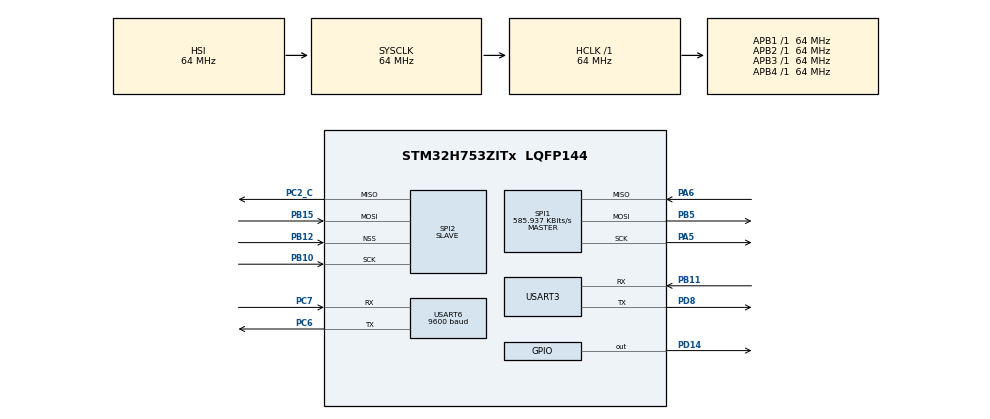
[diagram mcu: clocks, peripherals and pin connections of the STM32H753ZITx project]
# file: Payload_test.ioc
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CORTEX_M7.CPU_DCache=Disabled
CORTEX_M7.CPU_ICache=Disabled
CORTEX_M7.MPU_Control=__NULL
Mcu.Family=STM32H7
Mcu.Name=STM32H753ZITx
Mcu.Package=LQFP144
NVIC.PriorityGroup=NVIC_PRIORITYGROUP_4
NVIC.SPI1_IRQn=true\:0\:0\:false\:false\:true\:true\:true\:true
NVIC.USART6_IRQn=true\:0\:0\:false\:false\:true\:true\:true\:true
PA5.Mode=Full_Duplex_Master
PA5.Signal=SPI1_SCK
PA6.Mode=Full_Duplex_Master
PA6.Signal=SPI1_MISO
PB10.Mode=Full_Duplex_Slave
PB10.Signal=SPI2_SCK
PB11.Mode=Asynchronous
PB11.Signal=USART3_RX
PB12.Mode=NSS_Signal_Hard_Input
PB12.Signal=SPI2_NSS
PB15.Mode=Full_Duplex_Slave
PB15.Signal=SPI2_MOSI
PB5.Mode=Full_Duplex_Master
PB5.Signal=SPI1_MOSI
PB6.Signal=USART1_TX
PB7.Signal=USART1_RX
PC2_C.Mode=Full_Duplex_Slave
PC2_C.Signal=SPI2_MISO
PC6.Mode=Asynchronous
PC6.Signal=USART6_TX
PC7.Mode=Asynchronous
PC7.Signal=USART6_RX
PD14.Signal=GPIO_Output
PD8.Mode=Asynchronous
PD8.Signal=USART3_TX
ProjectManager.HeapSize=0x200
ProjectManager.StackSize=0x400
ProjectManager.TargetToolchain=STM32CubeIDE
RCC.ADCFreq_Value=129000000
RCC.APB1Freq_Value=64000000
RCC.APB2Freq_Value=64000000
RCC.APB3Freq_Value=64000000
RCC.APB4Freq_Value=64000000
RCC.CortexFreq_Value=64000000
RCC.DIVM1=4
RCC.DIVN1=9
RCC.DIVQ1=1
RCC.HCLKFreq_Value=64000000
RCC.HSE_VALUE=8000000
RCC.PLLFRACN=3072
RCC.PWR_Regulator_Voltage_Scale=PWR_REGULATOR_VOLTAGE_SCALE2
RCC.SYSCLKFreq_VALUE=64000000
RCC.USBFreq_Value=150000000
SPI1.BaudRatePrescaler=SPI_BAUDRATEPRESCALER_256
SPI1.CalculateBaudRate=585.937 KBits/s
SPI1.DataSize=SPI_DATASIZE_8BIT
SPI1.Direction=SPI_DIRECTION_2LINES
SPI1.Mode=SPI_MODE_MASTER
SPI1.NSSPMode=SPI_NSS_PULSE_DISABLE
SPI1.VirtualType=VM_MASTER
SPI2.DataSize=SPI_DATASIZE_8BIT
SPI2.Direction=SPI_DIRECTION_2LINES
SPI2.Mode=SPI_MODE_SLAVE
SPI2.VirtualNSS=VM_NSSHARD
SPI2.VirtualType=VM_SLAVE
USART3.VirtualMode-Asynchronous=VM_ASYNC
USART6.BaudRate=9600
USART6.VirtualMode-Asynchronous=VM_ASYNC
VP_FATFS_VS_Generic.Mode=User_defined
board=NUCLEO-H753ZI

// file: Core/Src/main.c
/* USER CODE BEGIN Header */
/**
  ******************************************************************************
  * @file           : main.c
  * @brief          : Main program body
  ******************************************************************************
  * @attention
  *
  * Copyright (c) 2026 STMicroelectronics.
  * All rights reserved.
  *
  * This software is licensed under terms that can be found in the LICENSE file
  * in the root directory of this software component.
  * If no LICENSE file comes with this software, it is provided AS-IS.
  *
  ******************************************************************************
  */
/* USER CODE END Header */
#include "main.h"
#include "fatfs.h"

/* USER CODE BEGIN Includes */
#include "sd_spi.h"
#include <string.h>
#include <stdio.h>
#include "ff.h"

/* USER CODE END Includes */

/* USER CODE BEGIN PTD */
typedef enum
{
    UART_STATE_WAIT_UTC,
    UART_STATE_WAIT_PROCESS_ACK,
    UART_WAIT_SEND_IMG,
    UART_STATE_DONE
} UART_State_t;

/* USER CODE END PTD */

/* USER CODE BEGIN PD */
#define CAPTURE_SIZE            9
#define UTC_DATA_SIZE           21
#define ACK_DATA_SIZE           13
#define UTC_RESPONSE_DELAY      200

#define PACKET_SIZE             210

/*
 * RPi sends packet count as:
 *
 * COUNT00125
 *
 * This is exactly 10 bytes.
 */
#define PACKET_COUNT_DATA_SIZE  10

/*
 * Maximum number of packets accepted.
 *
 * 99999 packets is the maximum representable
 * by COUNTxxxxx.
 */
#define MAX_PACKET_COUNT        99999
/* USER CODE END PD */

SPI_HandleTypeDef hspi1;
SPI_HandleTypeDef hspi2;

UART_HandleTypeDef huart3;
UART_HandleTypeDef huart6;

/* USER CODE BEGIN PV */
/*
 * SPI / SD variables
 */
uint8_t spi_tx;
uint8_t spi_rx;
uint8_t sd_buffer[512];

/*
 * FATFS variables
 */
FATFS image_fs;
FIL image_file;

FRESULT sd_result;
UINT bytes_written;
UINT bytes_read;

/*
 * SD test string
 */
char sd_test_data[] = "STM32 SD TEST\r\n";

/*
 * SPI packet receive buffer.
 *
 * Complete packet:
 *
 * [0..1]     SYNC
 * [2..5]     PACKET ID
 * [6..7]     PAYLOAD LENGTH
 * [8..9]     CRC
 * [10..209]  PAYLOAD
 */
uint8_t spi2_rx_buffer[PACKET_SIZE];

/*
 * Command sent from STM32 to Raspberry Pi.
 */
uint8_t capture_cmd[] = "CAPTURE\r\n";

/*
 * UTC folder name received from Raspberry Pi.
 */
uint8_t utc_data[UTC_DATA_SIZE];

/*
 * Process ACK received from Raspberry Pi.
 */
uint8_t ack_data[ACK_DATA_SIZE];

/*
 * Packet count received from Raspberry Pi.
 *
 * Expected format:
 *
 * COUNT00125
 *
 * exactly 10 bytes.
 */
uint8_t packet_count_data[PACKET_COUNT_DATA_SIZE];

/*
 * Total number of packets in current image.
 */
volatile uint32_t total_packets = 0;

/*
 * Indicates that packet count was received
 * and successfully decoded.
 */
volatile uint8_t packet_count_received = 0;

/*
 * Current UART state.
 */
volatile UART_State_t uart_state = UART_STATE_WAIT_UTC;

/*
 * Flag indicating UTC data has been received.
 */
volatile uint8_t utc_received = 0;

/*
 * Flag indicating final processing ACK
 * has been received.
 */
volatile uint8_t ack_received = 0;

/*
 * Time at which UTC reception completed.
 */
volatile uint32_t utc_received_time = 0;

/* USER CODE END PV */

void SystemClock_Config(void);
static void MX_GPIO_Init(void);
static void MX_SPI1_Init(void);
static void MX_USART6_UART_Init(void);
static void MX_SPI2_Init(void);
static void MX_USART3_UART_Init(void);
/* USER CODE BEGIN PFP */

/* =========================================================
 * CRC-16-CCITT
 * ========================================================= */

uint16_t crc16_ccitt(const uint8_t *data, uint32_t length);

/* =========================================================
 * UART RECEIVE CALLBACK
 * ========================================================= */

void HAL_UART_RxCpltCallback(UART_HandleTypeDef *huart)
{
    if (huart->Instance != USART6)
    {
        return;
    }

    /* =====================================================
     * STATE 1:
     * WAITING FOR UTC
     * ===================================================== */

    if (uart_state == UART_STATE_WAIT_UTC)
    {
        /*
         * UTC reception completed.
         */

        utc_received = 1;

        /*
         * Echo UTC back to Raspberry Pi.
         */
        HAL_UART_Transmit(
            &huart6,
            utc_data,
            UTC_DATA_SIZE,
            HAL_MAX_DELAY
        );

        /*
         * Next we expect process ACK.
         */
        uart_state = UART_STATE_WAIT_PROCESS_ACK;

        /*
         * Receive process ACK.
         */
        HAL_UART_Receive_IT(
            &huart6,
            ack_data,
            ACK_DATA_SIZE
        );

        /*
         * Store reception time.
         */
        utc_received_time = HAL_GetTick();
    }

    /* =====================================================
     * STATE 2:
     * WAITING FOR PROCESS ACK
     * ===================================================== */

    else if (uart_state == UART_STATE_WAIT_PROCESS_ACK)
    {
        /*
         * Process ACK received.
         */

        ack_received = 1;

        /*
         * Next we expect packet count.
         */
        uart_state = UART_WAIT_SEND_IMG;

        /*
         * Raspberry Pi will send:
         *
         * COUNT00125
         *
         * exactly 10 bytes.
         */
        HAL_UART_Receive_IT(
            &huart6,
            packet_count_data,
            PACKET_COUNT_DATA_SIZE
        );
    }

    /* =====================================================
     * STATE 3:
     * WAITING FOR PACKET COUNT
     * ===================================================== */

    else if (uart_state == UART_WAIT_SEND_IMG)
    {
        /*
         * Expected format:
         *
         * C O U N T 0 0 1 2 5
         *
         * Example:
         *
         * COUNT00125
         */

        total_packets = 0;

        /*
         * Verify "COUNT".
         */
        if (packet_count_data[0] != 'C' ||
            packet_count_data[1] != 'O' ||
            packet_count_data[2] != 'U' ||
            packet_count_data[3] != 'N' ||
            packet_count_data[4] != 'T')
        {
            /*
             * Invalid packet-count header.
             */

            total_packets = 0;
            packet_count_received = 0;

            HAL_UART_Receive_IT(
                &huart6,
                packet_count_data,
                PACKET_COUNT_DATA_SIZE
            );

            return;
        }

        /*
         * Decode five decimal digits.
         *
         * COUNT00001 = 1
         * COUNT00125 = 125
         * COUNT10000 = 10000
         */
        for (uint8_t i = 5; i < 10; i++)
        {
            /*
             * Make sure character is a digit.
             */
            if (packet_count_data[i] < '0' ||
                packet_count_data[i] > '9')
            {
                total_packets = 0;
                packet_count_received = 0;

                HAL_UART_Receive_IT(
                    &huart6,
                    packet_count_data,
                    PACKET_COUNT_DATA_SIZE
                );

                return;
            }

            total_packets =
                (total_packets * 10) +
                (packet_count_data[i] - '0');
        }

        /*
         * Validate packet count.
         */
        if (total_packets == 0 ||
            total_packets > MAX_PACKET_COUNT)
        {
            total_packets = 0;
            packet_count_received = 0;

            HAL_UART_Receive_IT(
                &huart6,
                packet_count_data,
                PACKET_COUNT_DATA_SIZE
            );

            return;
        }

        /*
         * Packet count is valid.
         */
        packet_count_received = 1;
    }
}

/* =========================================================
 * UART ERROR CALLBACK
 * ========================================================= */

void HAL_UART_ErrorCallback(UART_HandleTypeDef *huart)
{
    if (huart->Instance != USART6)
    {
        return;
    }

    if (uart_state == UART_STATE_WAIT_UTC)
    {
        HAL_UART_Receive_IT(
            &huart6,
            utc_data,
            UTC_DATA_SIZE
        );
    }

    else if (uart_state == UART_STATE_WAIT_PROCESS_ACK)
    {
        HAL_UART_Receive_IT(
            &huart6,
            ack_data,
            ACK_DATA_SIZE
        );
    }

    else if (uart_state == UART_WAIT_SEND_IMG)
    {
        HAL_UART_Receive_IT(
            &huart6,
            packet_count_data,
            PACKET_COUNT_DATA_SIZE
        );
    }
}

/* USER CODE END PFP */

/* USER CODE BEGIN 0 */
/* =========================================================
 * CRC-16-CCITT
 * ========================================================= */

uint16_t crc16_ccitt(const uint8_t *data, uint32_t length)
{
    uint16_t crc = 0xFFFF;

    for (uint32_t i = 0; i < length; i++)
    {
        crc ^= ((uint16_t)data[i] << 8);

        for (uint8_t j = 0; j < 8; j++)
        {
            if (crc & 0x8000)
            {
                crc = (crc << 1) ^ 0x1021;
            }
            else
            {
                crc <<= 1;
            }
        }
    }

    return crc;
}
/* USER CODE END 0 */

int main(void)
{

  /* MCU Configuration--------------------------------------------------------*/

  /* Reset of all peripherals, Initializes the Flash interface and the Systick. */
  HAL_Init();

  /* Configure the system clock */
  SystemClock_Config();

  /* Initialize all configured peripherals */
  MX_GPIO_Init();
  MX_SPI1_Init();
  MX_USART6_UART_Init();
  MX_SPI2_Init();
  MX_FATFS_Init();
  MX_USART3_UART_Init();
  /* USER CODE BEGIN 2 */

  /* =========================================================
   * SD CARD INITIALIZATION TEST
   * ========================================================= */

  HAL_Delay(500);

  /*
   * Tell PC that SD test is starting.
   */
  HAL_UART_Transmit(
      &huart3,
      (uint8_t *)"STARTING SD TEST\r\n",
      strlen("STARTING SD TEST\r\n"),
      HAL_MAX_DELAY
  );

  /*
   * Initialize SD card.
   */
  uint8_t sd_status = SD_Init();

  /*
   * Print SD initialization result.
   */
  char sd_msg[80];

  int sd_len = sprintf(
      sd_msg,
      "SD_Init() RETURN = %u\r\n",
      sd_status
  );

  HAL_UART_Transmit(
      &huart3,
      (uint8_t *)sd_msg,
      sd_len,
      HAL_MAX_DELAY
  );

  HAL_Delay(300);

  /* =========================================================
   * START IMAGE CAPTURE / PROCESSING SEQUENCE
   * ========================================================= */

  /*
   * Tell Raspberry Pi to capture/process image.
   */
  HAL_UART_Transmit(
      &huart6,
      capture_cmd,
      sizeof(capture_cmd) - 1,
      HAL_MAX_DELAY
  );

  /*
   * We are now waiting for UTC folder name.
   */
  uart_state = UART_STATE_WAIT_UTC;

  /*
   * Start interrupt-based UTC reception.
   */
  HAL_UART_Receive_IT(
      &huart6,
      utc_data,
      UTC_DATA_SIZE
  );
  /* USER CODE END 2 */

  /* Infinite loop */
  while (1)
  {

    /* USER CODE BEGIN 3 */
	    /*
	     * =========================================================
	     * WAIT FOR PACKET COUNT
	     * =========================================================
	     *
	     * RPi sends:
	     *
	     * COUNT00010
	     * COUNT00125
	     * COUNT01000
	     *
	     * Exactly 10 bytes.
	     */

	    if (packet_count_received)
	    {
	        packet_count_received = 0;

	        HAL_UART_Transmit(
	            &huart3,
	            (uint8_t *)"STEP 1: PACKET COUNT RECEIVED\r\n",
	            strlen("STEP 1: PACKET COUNT RECEIVED\r\n"),
	            HAL_MAX_DELAY
	        );

	        /*
	         * -----------------------------------------------------
	         * PRINT TOTAL PACKET COUNT
	         * -----------------------------------------------------
	         */

	        char count_msg[100];

	        int count_len = sprintf(
	            count_msg,
	            "\r\nTOTAL PACKETS: %lu\r\n",
	            total_packets
	        );

	        HAL_UART_Transmit(
	            &huart3,
	            (uint8_t *)count_msg,
	            count_len,
	            HAL_MAX_DELAY
	        );

	        /*
	         * -----------------------------------------------------
	         * CHECK PACKET COUNT
	         * -----------------------------------------------------
	         */

	        if (total_packets == 0 ||
	            total_packets > MAX_PACKET_COUNT)
	        {
	            HAL_UART_Transmit(
	                &huart3,
	                (uint8_t *)"INVALID PACKET COUNT\r\n",
	                strlen("INVALID PACKET COUNT\r\n"),
	                HAL_MAX_DELAY
	            );

	            total_packets = 0;

	            continue;
	        }

	        /*
	         * -----------------------------------------------------
	         * VARIABLES
	         * -----------------------------------------------------
	         */

	        FRESULT fres;

	        UINT bytes_written;

	        uint8_t packet_buffer[PACKET_SIZE];

	        uint8_t transfer_ok = 1;

	        /*
	         * -----------------------------------------------------
	         * MOUNT FAT FILESYSTEM
	         * -----------------------------------------------------
	         */

	        HAL_UART_Transmit(
	            &huart3,
	            (uint8_t *)"STEP 2: STARTING FATFS MOUNT\r\n",
	            strlen("STEP 2: STARTING FATFS MOUNT\r\n"),
	            HAL_MAX_DELAY
	        );

	        fres = f_mount(
	            &USERFatFS,
	            USERPath,
	            1
	        );

	        HAL_UART_Transmit(
	            &huart3,
	            (uint8_t *)"STEP 3: FATFS MOUNT RETURNED\r\n",
	            strlen("STEP 3: FATFS MOUNT RETURNED\r\n"),
	            HAL_MAX_DELAY
	        );

	        if (fres != FR_OK)
	        {
	            char msg[80];

	            int len = sprintf(
	                msg,
	                "FATFS MOUNT ERROR: %d\r\n",
	                fres
	            );

	            HAL_UART_Transmit(
	                &huart3,
	                (uint8_t *)msg,
	                len,
	                HAL_MAX_DELAY
	            );

	            total_packets = 0;

	            continue;
	        }

	        HAL_UART_Transmit(
	            &huart3,
	            (uint8_t *)"FATFS MOUNT OK\r\n",
	            strlen("FATFS MOUNT OK\r\n"),
	            HAL_MAX_DELAY
	        );

	        /*
	         * -----------------------------------------------------
	         * OPEN IMAGE FILE
	         * -----------------------------------------------------
	         */

	        HAL_UART_Transmit(
	            &huart3,
	            (uint8_t *)"STEP 4: OPENING image.bin\r\n",
	            strlen("STEP 4: OPENING image.bin\r\n"),
	            HAL_MAX_DELAY
	        );

	        fres = f_open(
	            &USERFile,
	            "image.bin",
	            FA_CREATE_ALWAYS | FA_WRITE
	        );

	        HAL_UART_Transmit(
	            &huart3,
	            (uint8_t *)"STEP 5: f_open RETURNED\r\n",
	            strlen("STEP 5: f_open RETURNED\r\n"),
	            HAL_MAX_DELAY
	        );

	        if (fres != FR_OK)
	        {
	            char msg[80];

	            int len = sprintf(
	                msg,
	                "image.bin OPEN ERROR: %d\r\n",
	                fres
	            );

	            HAL_UART_Transmit(
	                &huart3,
	                (uint8_t *)msg,
	                len,
	                HAL_MAX_DELAY
	            );

	            total_packets = 0;

	            continue;
	        }

	        HAL_UART_Transmit(
	            &huart3,
	            (uint8_t *)"image.bin OPEN OK\r\n",
	            strlen("image.bin OPEN OK\r\n"),
	            HAL_MAX_DELAY
	        );

	        /*
	         * -----------------------------------------------------
	         * TELL RPI TO START SPI TRANSFER
	         * -----------------------------------------------------
	         */
	        HAL_UART_Transmit(
	            &huart3,
	            (uint8_t *)"STEP 6: ABOUT TO SEND SEND IMAGE\r\n",
	            strlen("STEP 6: ABOUT TO SEND SEND IMAGE\r\n"),
	            HAL_MAX_DELAY
	        );

	        uint8_t tx_msg[] = "SEND IMAGE\r\n";

	        HAL_UART_Transmit(
	            &huart6,
	            tx_msg,
	            sizeof(tx_msg) - 1,
	            HAL_MAX_DELAY
	        );

	        HAL_UART_Transmit(
	            &huart3,
	            (uint8_t *)"STEP 7: SEND IMAGE SENT\r\n",
	            strlen("STEP 7: SEND IMAGE SENT\r\n"),
	            HAL_MAX_DELAY
	        );

	        /*
	         * =====================================================
	         * RECEIVE ALL PACKETS
	         * =====================================================
	         */

	        for (uint32_t expected_packet_id = 0;
	             expected_packet_id < total_packets;
	             expected_packet_id++)
	        {
	            /*
	             * -------------------------------------------------
	             * TELL RPI STM32 IS READY
	             * -------------------------------------------------
	             */

	            uint8_t ready_msg[] = "SPI READY\r\n";

	            HAL_UART_Transmit(
	                &huart6,
	                ready_msg,
	                sizeof(ready_msg) - 1,
	                HAL_MAX_DELAY
	            );

	            /*
	             * -------------------------------------------------
	             * RECEIVE 210 BYTE SPI PACKET
	             * -------------------------------------------------
	             */

	            HAL_StatusTypeDef spi_status;

	            spi_status = HAL_SPI_Receive(
	                &hspi2,
	                packet_buffer,
	                PACKET_SIZE,
	                5000
	            );

	            if (spi_status != HAL_OK)
	            {
	                uint32_t error =
	                    HAL_SPI_GetError(&hspi2);

	                char error_msg[120];

	                int len = sprintf(
	                    error_msg,
	                    "PACKET %lu SPI ERROR: 0x%08lX\r\n",
	                    expected_packet_id,
	                    error
	                );

	                HAL_UART_Transmit(
	                    &huart3,
	                    (uint8_t *)error_msg,
	                    len,
	                    HAL_MAX_DELAY
	                );

	                transfer_ok = 0;

	                break;
	            }

	            /*
	             * -------------------------------------------------
	             * READ PACKET HEADER
	             * -------------------------------------------------
	             */

	            uint16_t sync =
	                ((uint16_t)packet_buffer[0] << 8) |
	                packet_buffer[1];

	            uint32_t packet_id =
	                ((uint32_t)packet_buffer[2] << 24) |
	                ((uint32_t)packet_buffer[3] << 16) |
	                ((uint32_t)packet_buffer[4] << 8) |
	                packet_buffer[5];

	            uint16_t payload_length =
	                ((uint16_t)packet_buffer[6] << 8) |
	                packet_buffer[7];

	            uint16_t received_crc =
	                ((uint16_t)packet_buffer[8] << 8) |
	                packet_buffer[9];

	            /*
	             * -------------------------------------------------
	             * CHECK PAYLOAD LENGTH
	             * -------------------------------------------------
	             */

	            if (payload_length > 200)
	            {
	                char error_msg[120];

	                int len = sprintf(
	                    error_msg,
	                    "PACKET %lu INVALID LENGTH: %u\r\n",
	                    expected_packet_id,
	                    payload_length
	                );

	                HAL_UART_Transmit(
	                    &huart3,
	                    (uint8_t *)error_msg,
	                    len,
	                    HAL_MAX_DELAY
	                );

	                transfer_ok = 0;

	                break;
	            }

	            /*
	             * -------------------------------------------------
	             * CRC
	             * -------------------------------------------------
	             */

	            uint8_t crc_buffer[208];

	            memcpy(
	                crc_buffer,
	                packet_buffer,
	                8
	            );

	            memcpy(
	                &crc_buffer[8],
	                &packet_buffer[10],
	                payload_length
	            );

	            uint16_t calculated_crc =
	                crc16_ccitt(
	                    crc_buffer,
	                    8 + payload_length
	                );

	            /*
	             * -------------------------------------------------
	             * PRINT PACKET INFO
	             * -------------------------------------------------
	             */

	            char msg[220];

	            snprintf(
	                msg,
	                sizeof(msg),
	                "\r\nPACKET ID: %lu\r\n"
	                "EXPECTED ID: %lu\r\n"
	                "SYNC: 0x%04X\r\n"
	                "PAYLOAD LENGTH: %u\r\n"
	                "RECEIVED CRC: 0x%04X\r\n"
	                "CALCULATED CRC: 0x%04X\r\n",
	                packet_id,
	                expected_packet_id,
	                sync,
	                payload_length,
	                received_crc,
	                calculated_crc
	            );

	            HAL_UART_Transmit(
	                &huart3,
	                (uint8_t *)msg,
	                strlen(msg),
	                HAL_MAX_DELAY
	            );

	            /*
	             * -------------------------------------------------
	             * VALIDATE PACKET
	             * -------------------------------------------------
	             */

	            if (sync != 0xAA55 ||
	                packet_id != expected_packet_id ||
	                received_crc != calculated_crc)
	            {
	                char error_msg[140];

	                int len = sprintf(
	                    error_msg,
	                    "PACKET %lu VALIDATION FAILED\r\n",
	                    expected_packet_id
	                );

	                HAL_UART_Transmit(
	                    &huart3,
	                    (uint8_t *)error_msg,
	                    len,
	                    HAL_MAX_DELAY
	                );

	                transfer_ok = 0;

	                break;
	            }

	            /*
	             * -------------------------------------------------
	             * CRC OK
	             * -------------------------------------------------
	             */

	            char crc_ok_msg[100];

	            int crc_ok_len = sprintf(
	                crc_ok_msg,
	                "PACKET %lu CRC OK\r\n",
	                expected_packet_id
	            );

	            HAL_UART_Transmit(
	                &huart3,
	                (uint8_t *)crc_ok_msg,
	                crc_ok_len,
	                HAL_MAX_DELAY
	            );

	            /*
	             * -------------------------------------------------
	             * WRITE PAYLOAD TO SD
	             * -------------------------------------------------
	             */

	            fres = f_write(
	                &USERFile,
	                &packet_buffer[10],
	                payload_length,
	                &bytes_written
	            );

	            if (fres != FR_OK ||
	                bytes_written != payload_length)
	            {
	                char write_msg[140];

	                int len = sprintf(
	                    write_msg,
	                    "PACKET %lu WRITE ERROR: result=%d bytes=%u\r\n",
	                    expected_packet_id,
	                    fres,
	                    bytes_written
	                );

	                HAL_UART_Transmit(
	                    &huart3,
	                    (uint8_t *)write_msg,
	                    len,
	                    HAL_MAX_DELAY
	                );

	                transfer_ok = 0;

	                break;
	            }

	            /*
	             * -------------------------------------------------
	             * WRITE SUCCESS
	             * -------------------------------------------------
	             */

	            char write_ok_msg[120];

	            int write_ok_len = sprintf(
	                write_ok_msg,
	                "PACKET %lu WRITE OK: %u BYTES\r\n",
	                expected_packet_id,
	                bytes_written
	            );

	            HAL_UART_Transmit(
	                &huart3,
	                (uint8_t *)write_ok_msg,
	                write_ok_len,
	                HAL_MAX_DELAY
	            );
	        }

	        /*
	         * =====================================================
	         * CLOSE FILE
	         * =====================================================
	         */

	        fres = f_close(&USERFile);

	        if (fres == FR_OK)
	        {
	            HAL_UART_Transmit(
	                &huart3,
	                (uint8_t *)"image.bin CLOSE OK\r\n",
	                strlen("image.bin CLOSE OK\r\n"),
	                HAL_MAX_DELAY
	            );
	        }
	        else
	        {
	            char close_msg[100];

	            int len = sprintf(
	                close_msg,
	                "image.bin CLOSE ERROR: %d\r\n",
	                fres
	            );

	            HAL_UART_Transmit(
	                &huart3,
	                (uint8_t *)close_msg,
	                len,
	                HAL_MAX_DELAY
	            );

	            transfer_ok = 0;
	        }

	        /*
	         * =====================================================
	         * FINAL RESULT
	         * =====================================================
	         */

	        if (transfer_ok)
	        {
	            char complete_msg[140];

	            int complete_len = sprintf(
	                complete_msg,
	                "\r\n================================\r\n"
	                "COMPLETE IMAGE RECEIVED\r\n"
	                "TOTAL PACKETS: %lu\r\n"
	                "PACKET RANGE: 0-%lu\r\n"
	                "FILE: image.bin\r\n"
	                "================================\r\n",
	                total_packets,
	                total_packets - 1
	            );

	            HAL_UART_Transmit(
	                &huart3,
	                (uint8_t *)complete_msg,
	                complete_len,
	                HAL_MAX_DELAY
	            );
	        }
	        else
	        {
	            HAL_UART_Transmit(
	                &huart3,
	                (uint8_t *)"COMPLETE IMAGE TRANSFER FAILED\r\n",
	                strlen("COMPLETE IMAGE TRANSFER FAILED\r\n"),
	                HAL_MAX_DELAY
	            );
	        }

	        /*
	         * -----------------------------------------------------
	         * FINISHED
	         * -----------------------------------------------------
	         */

	        total_packets = 0;

	        uart_state = UART_STATE_DONE;

	        /*
	         * Stop main loop after one image.
	         */
	        break;
	    }

	    /* USER CODE END 3 */
	  }

	  /* USER CODE END WHILE */

	}   /* <-- closes main() */

void SystemClock_Config(void)
{
  RCC_OscInitTypeDef RCC_OscInitStruct = {0};
  RCC_ClkInitTypeDef RCC_ClkInitStruct = {0};

  /** Supply configuration update enable
  */
  HAL_PWREx_ConfigSupply(PWR_LDO_SUPPLY);

  /** Configure the main internal regulator output voltage
  */
  __HAL_PWR_VOLTAGESCALING_CONFIG(PWR_REGULATOR_VOLTAGE_SCALE2);

  while(!__HAL_PWR_GET_FLAG(PWR_FLAG_VOSRDY)) {}

  /** Initializes the RCC Oscillators according to the specified parameters
  * in the RCC_OscInitTypeDef structure.
  */
  RCC_OscInitStruct.OscillatorType = RCC_OSCILLATORTYPE_HSI;
  RCC_OscInitStruct.HSIState = RCC_HSI_DIV1;
  RCC_OscInitStruct.HSICalibrationValue = RCC_HSICALIBRATION_DEFAULT;
  RCC_OscInitStruct.PLL.PLLState = RCC_PLL_ON;
  RCC_OscInitStruct.PLL.PLLSource = RCC_PLLSOURCE_HSI;
  RCC_OscInitStruct.PLL.PLLM = 4;
  RCC_OscInitStruct.PLL.PLLN = 9;
  RCC_OscInitStruct.PLL.PLLP = 2;
  RCC_OscInitStruct.PLL.PLLQ = 1;
  RCC_OscInitStruct.PLL.PLLR = 2;
  RCC_OscInitStruct.PLL.PLLRGE = RCC_PLL1VCIRANGE_3;
  RCC_OscInitStruct.PLL.PLLVCOSEL = RCC_PLL1VCOMEDIUM;
  RCC_OscInitStruct.PLL.PLLFRACN = 3072;
  if (HAL_RCC_OscConfig(&RCC_OscInitStruct) != HAL_OK)
  {
    Error_Handler();
  }

  /** Initializes the CPU, AHB and APB buses clocks
  */
  RCC_ClkInitStruct.ClockType = RCC_CLOCKTYPE_HCLK|RCC_CLOCKTYPE_SYSCLK
                              |RCC_CLOCKTYPE_PCLK1|RCC_CLOCKTYPE_PCLK2
                              |RCC_CLOCKTYPE_D3PCLK1|RCC_CLOCKTYPE_D1PCLK1;
  RCC_ClkInitStruct.SYSCLKSource = RCC_SYSCLKSOURCE_HSI;
  RCC_ClkInitStruct.SYSCLKDivider = RCC_SYSCLK_DIV1;
  RCC_ClkInitStruct.AHBCLKDivider = RCC_HCLK_DIV1;
  RCC_ClkInitStruct.APB3CLKDivider = RCC_APB3_DIV1;
  RCC_ClkInitStruct.APB1CLKDivider = RCC_APB1_DIV1;
  RCC_ClkInitStruct.APB2CLKDivider = RCC_APB2_DIV1;
  RCC_ClkInitStruct.APB4CLKDivider = RCC_APB4_DIV1;

  if (HAL_RCC_ClockConfig(&RCC_ClkInitStruct, FLASH_LATENCY_1) != HAL_OK)
  {
    Error_Handler();
  }
}

static void MX_SPI1_Init(void)
{

  /* SPI1 parameter configuration*/
  hspi1.Instance = SPI1;
  hspi1.Init.Mode = SPI_MODE_MASTER;
  hspi1.Init.Direction = SPI_DIRECTION_2LINES;
  hspi1.Init.DataSize = SPI_DATASIZE_8BIT;
  hspi1.Init.CLKPolarity = SPI_POLARITY_LOW;
  hspi1.Init.CLKPhase = SPI_PHASE_1EDGE;
  hspi1.Init.NSS = SPI_NSS_SOFT;
  hspi1.Init.BaudRatePrescaler = SPI_BAUDRATEPRESCALER_256;
  hspi1.Init.FirstBit = SPI_FIRSTBIT_MSB;
  hspi1.Init.TIMode = SPI_TIMODE_DISABLE;
  hspi1.Init.CRCCalculation = SPI_CRCCALCULATION_DISABLE;
  hspi1.Init.CRCPolynomial = 0x0;
  hspi1.Init.NSSPMode = SPI_NSS_PULSE_DISABLE;
  hspi1.Init.NSSPolarity = SPI_NSS_POLARITY_LOW;
  hspi1.Init.FifoThreshold = SPI_FIFO_THRESHOLD_01DATA;
  hspi1.Init.TxCRCInitializationPattern = SPI_CRC_INITIALIZATION_ALL_ZERO_PATTERN;
  hspi1.Init.RxCRCInitializationPattern = SPI_CRC_INITIALIZATION_ALL_ZERO_PATTERN;
  hspi1.Init.MasterSSIdleness = SPI_MASTER_SS_IDLENESS_00CYCLE;
  hspi1.Init.MasterInterDataIdleness = SPI_MASTER_INTERDATA_IDLENESS_00CYCLE;
  hspi1.Init.MasterReceiverAutoSusp = SPI_MASTER_RX_AUTOSUSP_DISABLE;
  hspi1.Init.MasterKeepIOState = SPI_MASTER_KEEP_IO_STATE_DISABLE;
  hspi1.Init.IOSwap = SPI_IO_SWAP_DISABLE;
  if (HAL_SPI_Init(&hspi1) != HAL_OK)
  {
    Error_Handler();
  }

}

static void MX_SPI2_Init(void)
{

  /* SPI2 parameter configuration*/
  hspi2.Instance = SPI2;
  hspi2.Init.Mode = SPI_MODE_SLAVE;
  hspi2.Init.Direction = SPI_DIRECTION_2LINES;
  hspi2.Init.DataSize = SPI_DATASIZE_8BIT;
  hspi2.Init.CLKPolarity = SPI_POLARITY_LOW;
  hspi2.Init.CLKPhase = SPI_PHASE_1EDGE;
  hspi2.Init.NSS = SPI_NSS_HARD_INPUT;
  hspi2.Init.FirstBit = SPI_FIRSTBIT_MSB;
  hspi2.Init.TIMode = SPI_TIMODE_DISABLE;
  hspi2.Init.CRCCalculation = SPI_CRCCALCULATION_DISABLE;
  hspi2.Init.CRCPolynomial = 0x0;
  hspi2.Init.NSSPMode = SPI_NSS_PULSE_DISABLE;
  hspi2.Init.NSSPolarity = SPI_NSS_POLARITY_LOW;
  hspi2.Init.FifoThreshold = SPI_FIFO_THRESHOLD_01DATA;
  hspi2.Init.TxCRCInitializationPattern = SPI_CRC_INITIALIZATION_ALL_ZERO_PATTERN;
  hspi2.Init.RxCRCInitializationPattern = SPI_CRC_INITIALIZATION_ALL_ZERO_PATTERN;
  hspi2.Init.MasterSSIdleness = SPI_MASTER_SS_IDLENESS_00CYCLE;
  hspi2.Init.MasterInterDataIdleness = SPI_MASTER_INTERDATA_IDLENESS_00CYCLE;
  hspi2.Init.MasterReceiverAutoSusp = SPI_MASTER_RX_AUTOSUSP_DISABLE;
  hspi2.Init.MasterKeepIOState = SPI_MASTER_KEEP_IO_STATE_DISABLE;
  hspi2.Init.IOSwap = SPI_IO_SWAP_DISABLE;
  if (HAL_SPI_Init(&hspi2) != HAL_OK)
  {
    Error_Handler();
  }

}

static void MX_USART3_UART_Init(void)
{

  huart3.Instance = USART3;
  huart3.Init.BaudRate = 115200;
  huart3.Init.WordLength = UART_WORDLENGTH_8B;
  huart3.Init.StopBits = UART_STOPBITS_1;
  huart3.Init.Parity = UART_PARITY_NONE;
  huart3.Init.Mode = UART_MODE_TX_RX;
  huart3.Init.HwFlowCtl = UART_HWCONTROL_NONE;
  huart3.Init.OverSampling = UART_OVERSAMPLING_16;
  huart3.Init.OneBitSampling = UART_ONE_BIT_SAMPLE_DISABLE;
  huart3.Init.ClockPrescaler = UART_PRESCALER_DIV1;
  huart3.AdvancedInit.AdvFeatureInit = UART_ADVFEATURE_NO_INIT;
  if (HAL_UART_Init(&huart3) != HAL_OK)
  {
    Error_Handler();
  }
  if (HAL_UARTEx_SetTxFifoThreshold(&huart3, UART_TXFIFO_THRESHOLD_1_8) != HAL_OK)
  {
    Error_Handler();
  }
  if (HAL_UARTEx_SetRxFifoThreshold(&huart3, UART_RXFIFO_THRESHOLD_1_8) != HAL_OK)
  {
    Error_Handler();
  }
  if (HAL_UARTEx_DisableFifoMode(&huart3) != HAL_OK)
  {
    Error_Handler();
  }

}

static void MX_USART6_UART_Init(void)
{

  huart6.Instance = USART6;
  huart6.Init.BaudRate = 9600;
  huart6.Init.WordLength = UART_WORDLENGTH_8B;
  huart6.Init.StopBits = UART_STOPBITS_1;
  huart6.Init.Parity = UART_PARITY_NONE;
  huart6.Init.Mode = UART_MODE_TX_RX;
  huart6.Init.HwFlowCtl = UART_HWCONTROL_NONE;
  huart6.Init.OverSampling = UART_OVERSAMPLING_16;
  huart6.Init.OneBitSampling = UART_ONE_BIT_SAMPLE_DISABLE;
  huart6.Init.ClockPrescaler = UART_PRESCALER_DIV1;
  huart6.AdvancedInit.AdvFeatureInit = UART_ADVFEATURE_NO_INIT;
  if (HAL_UART_Init(&huart6) != HAL_OK)
  {
    Error_Handler();
  }
  if (HAL_UARTEx_SetTxFifoThreshold(&huart6, UART_TXFIFO_THRESHOLD_1_8) != HAL_OK)
  {
    Error_Handler();
  }
  if (HAL_UARTEx_SetRxFifoThreshold(&huart6, UART_RXFIFO_THRESHOLD_1_8) != HAL_OK)
  {
    Error_Handler();
  }
  if (HAL_UARTEx_DisableFifoMode(&huart6) != HAL_OK)
  {
    Error_Handler();
  }

}

static void MX_GPIO_Init(void)
{
  GPIO_InitTypeDef GPIO_InitStruct = {0};

  /* GPIO Ports Clock Enable */
  __HAL_RCC_GPIOC_CLK_ENABLE();
  __HAL_RCC_GPIOA_CLK_ENABLE();
  __HAL_RCC_GPIOB_CLK_ENABLE();
  __HAL_RCC_GPIOD_CLK_ENABLE();

  /*Configure GPIO pin Output Level */
  HAL_GPIO_WritePin(GPIOD, GPIO_PIN_14, GPIO_PIN_RESET);

  /*Configure GPIO pin : PD14 */
  GPIO_InitStruct.Pin = GPIO_PIN_14;
  GPIO_InitStruct.Mode = GPIO_MODE_OUTPUT_PP;
  GPIO_InitStruct.Pull = GPIO_NOPULL;
  GPIO_InitStruct.Speed = GPIO_SPEED_FREQ_LOW;
  HAL_GPIO_Init(GPIOD, &GPIO_InitStruct);

  /*Configure GPIO pins : PB6 PB7 */
  GPIO_InitStruct.Pin = GPIO_PIN_6|GPIO_PIN_7;
  GPIO_InitStruct.Mode = GPIO_MODE_AF_PP;
  GPIO_InitStruct.Pull = GPIO_NOPULL;
  GPIO_InitStruct.Speed = GPIO_SPEED_FREQ_LOW;
  GPIO_InitStruct.Alternate = GPIO_AF7_USART1;
  HAL_GPIO_Init(GPIOB, &GPIO_InitStruct);

}

void Error_Handler(void)
{
  __disable_irq();
  while (1)
  {
  }
}
